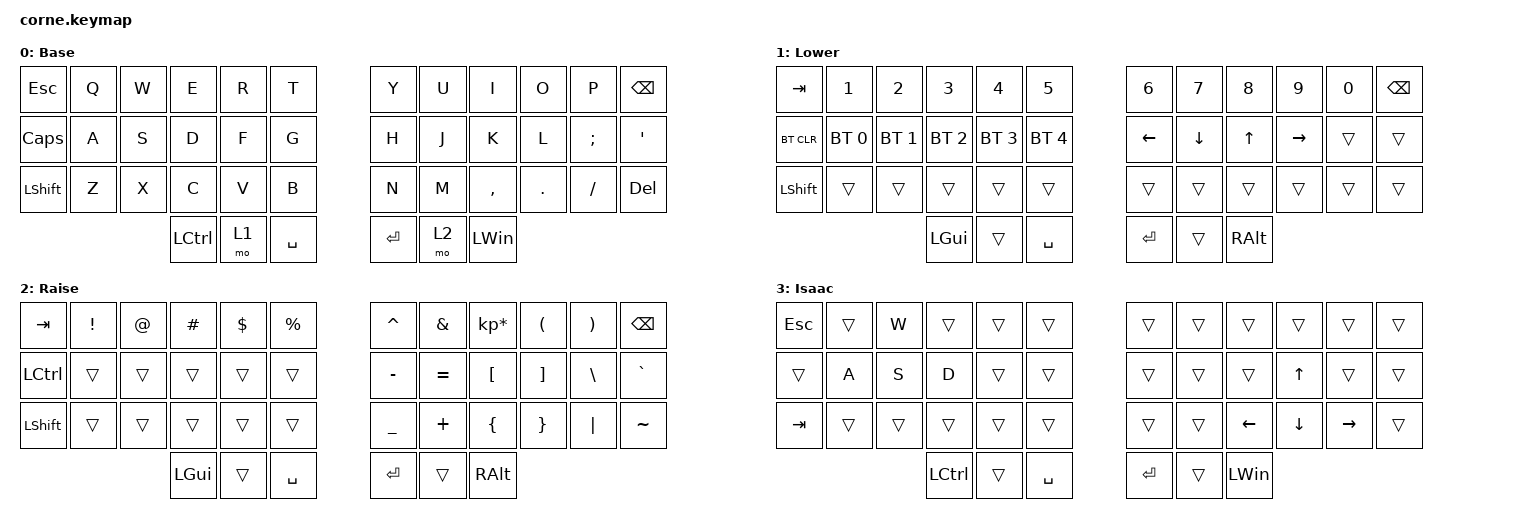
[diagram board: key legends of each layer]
/*
 * Copyright (c) 2020 The ZMK Contributors
 *
 * SPDX-License-Identifier: MIT
 */

#include <behaviors.dtsi>
#include <dt-bindings/zmk/bt.h>
#include <dt-bindings/zmk/keys.h>

/ {
    combos {
        compatible = "zmk,combos";

        Isaac {
            bindings = <&tog 3>;
            key-positions = <8 13 12 26 37 40>;
        };
    };

    keymap {
        compatible = "zmk,keymap";

        default_layer {
            // -----------------------------------------------------------------------------------------
            // |  TAB |  Q  |  W  |  E  |  R  |  T  |   |  Y  |  U   |  I  |  O  |  P  | BKSP |
            // | CTRL |  A  |  S  |  D  |  F  |  G  |   |  H  |  J   |  K  |  L  |  ;  |  '   |
            // | SHFT |  Z  |  X  |  C  |  V  |  B  |   |  N  |  M   |  ,  |  .  |  /  | ESC  |
            //                    | GUI | LWR | SPC |   | ENT | RSE  | ALT |

            display-name = "Base";
            bindings = <
&kp ESCAPE    &kp Q  &kp W  &kp E      &kp R  &kp T        &kp Y    &kp U  &kp I         &kp O    &kp P     &kp BSPC
&kp CAPSLOCK  &kp A  &kp S  &kp D      &kp F  &kp G        &kp H    &kp J  &kp K         &kp L    &kp SEMI  &kp SQT
&kp LSHFT     &kp Z  &kp X  &kp C      &kp V  &kp B        &kp N    &kp M  &kp COMMA     &kp DOT  &kp FSLH  &kp DELETE
                            &kp LCTRL  &mo 1  &kp SPACE    &kp RET  &mo 2  &kp LEFT_WIN
            >;
        };

        lower_layer {
            // -----------------------------------------------------------------------------------------
            // |  TAB |  1  |  2  |  3  |  4  |  5  |   |  6  |  7  |  8  |  9  |  0  | BKSP |
            // | BTCLR| BT1 | BT2 | BT3 | BT4 | BT5 |   | LFT | DWN |  UP | RGT |     |      |
            // | SHFT |     |     |     |     |     |   |     |     |     |     |     |      |
            //                    | GUI |     | SPC |   | ENT |     | ALT |

            display-name = "Lower";
            bindings = <
&kp TAB     &kp N1        &kp N2        &kp N3        &kp N4        &kp N5          &kp N6    &kp N7    &kp N8    &kp N9     &kp N0  &kp BSPC
&bt BT_CLR  &bt BT_SEL 0  &bt BT_SEL 1  &bt BT_SEL 2  &bt BT_SEL 3  &bt BT_SEL 4    &kp LEFT  &kp DOWN  &kp UP    &kp RIGHT  &trans  &trans
&kp LSHFT   &trans        &trans        &trans        &trans        &trans          &trans    &trans    &trans    &trans     &trans  &trans
                                        &kp LGUI      &trans        &kp SPACE       &kp RET   &trans    &kp RALT
            >;
        };

        raise_layer {
            // -----------------------------------------------------------------------------------------
            // |  TAB |  !  |  @  |  #  |  $  |  %  |   |  ^  |  &  |  *  |  (  |  )  | BKSP |
            // | CTRL |     |     |     |     |     |   |  -  |  =  |  [  |  ]  |  \  |  `   |
            // | SHFT |     |     |     |     |     |   |  _  |  +  |  {  |  }  | "|" |  ~   |
            //                    | GUI |     | SPC |   | ENT |     | ALT |

            display-name = "Raise";
            bindings = <
&kp TAB    &kp EXCL  &kp AT  &kp HASH  &kp DLLR  &kp PRCNT    &kp CARET  &kp AMPS   &kp KP_MULTIPLY  &kp LPAR  &kp RPAR  &kp BSPC
&kp LCTRL  &trans    &trans  &trans    &trans    &trans       &kp MINUS  &kp EQUAL  &kp LBKT         &kp RBKT  &kp BSLH  &kp GRAVE
&kp LSHFT  &trans    &trans  &trans    &trans    &trans       &kp UNDER  &kp PLUS   &kp LBRC         &kp RBRC  &kp PIPE  &kp TILDE
                             &kp LGUI  &trans    &kp SPACE    &kp RET    &trans     &kp RALT
            >;
        };

        Isaac {
            bindings = <
&kp ESCAPE  &trans  &kp W   &trans     &trans  &trans       &trans     &trans  &trans        &trans        &trans     &trans
&trans      &kp A   &kp S   &kp D      &trans  &trans       &trans     &trans  &trans        &kp UP_ARROW  &trans     &trans
&kp TAB     &trans  &trans  &trans     &trans  &trans       &trans     &trans  &kp LEFT      &kp DOWN      &kp RIGHT  &trans
                            &kp LCTRL  &trans  &kp SPACE    &kp ENTER  &trans  &kp LEFT_WIN
            >;
        };

        extra_1 { status = "reserved"; };

        extra_2 { status = "reserved"; };

        extra_3 { status = "reserved"; };
    };
};
